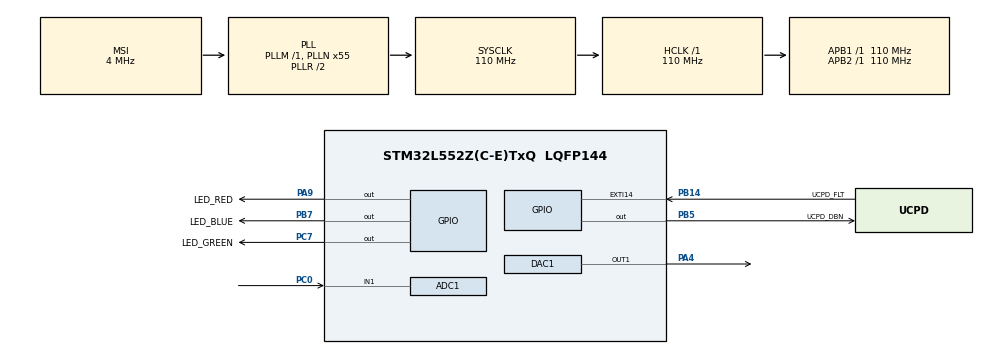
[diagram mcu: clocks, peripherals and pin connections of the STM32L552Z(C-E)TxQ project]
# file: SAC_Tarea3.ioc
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ADC1.Channel-0\#ChannelRegularConversion=ADC_CHANNEL_1
ADC1.ClockPrescaler=ADC_CLOCK_SYNC_PCLK_DIV4
ADC1.DMAContinuousRequests=ENABLE
ADC1.ExternalTrigConv=ADC_EXTERNALTRIG_T2_TRGO
ADC1.NbrOfConversionFlag=1
ADC1.OffsetNumber-0\#ChannelRegularConversion=ADC_OFFSET_NONE
ADC1.Rank-0\#ChannelRegularConversion=1
ADC1.SamplingTime-0\#ChannelRegularConversion=ADC_SAMPLETIME_2CYCLES_5
ADC1.master=1
Dma.ADC1.0.Channel_PRIV_NPRIV=DMA_CHANNEL_NPRIV_DISABLE
Dma.ADC1.0.Direction=DMA_PERIPH_TO_MEMORY
Dma.ADC1.0.EventEnable=DISABLE
Dma.ADC1.0.Instance=DMA1_Channel1
Dma.ADC1.0.MemDataAlignment=DMA_MDATAALIGN_HALFWORD
Dma.ADC1.0.MemInc=DMA_MINC_ENABLE
Dma.ADC1.0.Mode=DMA_NORMAL
Dma.ADC1.0.PeriphDataAlignment=DMA_PDATAALIGN_HALFWORD
Dma.ADC1.0.PeriphInc=DMA_PINC_DISABLE
Dma.ADC1.0.Polarity=HAL_DMAMUX_REQ_GEN_RISING
Dma.ADC1.0.Priority=DMA_PRIORITY_HIGH
Dma.ADC1.0.RequestNumber=1
Dma.ADC1.0.SignalID=NONE
Dma.ADC1.0.SyncEnable=DISABLE
Dma.ADC1.0.SyncPolarity=HAL_DMAMUX_SYNC_NO_EVENT
Dma.ADC1.0.SyncRequestNumber=1
Dma.ADC1.0.SyncSignalID=NONE
Dma.DAC1_CH1.1.Channel_PRIV_NPRIV=DMA_CHANNEL_NPRIV_DISABLE
Dma.DAC1_CH1.1.Direction=DMA_MEMORY_TO_PERIPH
Dma.DAC1_CH1.1.EventEnable=DISABLE
Dma.DAC1_CH1.1.Instance=DMA1_Channel2
Dma.DAC1_CH1.1.MemDataAlignment=DMA_MDATAALIGN_HALFWORD
Dma.DAC1_CH1.1.MemInc=DMA_MINC_ENABLE
Dma.DAC1_CH1.1.Mode=DMA_NORMAL
Dma.DAC1_CH1.1.PeriphDataAlignment=DMA_PDATAALIGN_HALFWORD
Dma.DAC1_CH1.1.PeriphInc=DMA_PINC_DISABLE
Dma.DAC1_CH1.1.Polarity=HAL_DMAMUX_REQ_GEN_RISING
Dma.DAC1_CH1.1.Priority=DMA_PRIORITY_MEDIUM
Dma.DAC1_CH1.1.RequestNumber=1
Dma.DAC1_CH1.1.SignalID=NONE
Dma.DAC1_CH1.1.SyncEnable=DISABLE
Dma.DAC1_CH1.1.SyncPolarity=HAL_DMAMUX_SYNC_NO_EVENT
Dma.DAC1_CH1.1.SyncRequestNumber=1
Dma.DAC1_CH1.1.SyncSignalID=NONE
Dma.Request0=ADC1
Dma.Request1=DAC1_CH1
Mcu.Family=STM32L5
Mcu.Name=STM32L552Z(C-E)TxQ
Mcu.Package=LQFP144
NVIC.ADC1_2_IRQn=true\:0\:0\:false\:false\:true\:true\:true\:true
NVIC.DAC_IRQn=true\:0\:0\:false\:false\:true\:true\:true\:true
NVIC.DMA1_Channel1_IRQn=true\:0\:0\:false\:false\:true\:false\:true\:true
NVIC.DMA1_Channel2_IRQn=true\:0\:0\:false\:false\:true\:false\:true\:true
NVIC.PriorityGroup=NVIC_PRIORITYGROUP_3
NVIC.TIM2_IRQn=true\:0\:0\:false\:false\:true\:true\:true\:true
PA4.Signal=COMP_DAC11_group
PA9.GPIO_Label=LED_RED
PA9.Signal=GPIO_Output
PB14.GPIO_Label=UCPD_FLT
PB14.Signal=GPXTI14
PB5.GPIO_Label=UCPD_DBN
PB5.Signal=GPIO_Output
PB7.GPIO_Label=LED_BLUE
PB7.Signal=GPIO_Output
PC0.Signal=ADCx_IN1
PC7.GPIO_Label=LED_GREEN
PC7.Signal=GPIO_Output
ProjectManager.HeapSize=0x200
ProjectManager.StackSize=0x400
ProjectManager.TargetToolchain=STM32CubeIDE
RCC.AHBFreq_Value=110000000
RCC.APB1Freq_Value=110000000
RCC.APB1TimFreq_Value=110000000
RCC.APB2Freq_Value=110000000
RCC.APB2TimFreq_Value=110000000
RCC.CortexFreq_Value=110000000
RCC.HCLKFreq_Value=110000000
RCC.HSE_VALUE=16000000
RCC.HSI48_VALUE=48000000
RCC.HSI_VALUE=16000000
RCC.LSE_VALUE=32768
RCC.MSI_VALUE=4000000
RCC.PLLN=55
RCC.SYSCLKFreq_VALUE=110000000
RCC.SYSCLKSource=RCC_SYSCLKSOURCE_PLLCLK
RCC.VCOOutputFreq_Value=220000000
SH.ADCx_IN1.0=ADC1_IN1,IN1-Single-Ended
SH.COMP_DAC11_group.0=DAC1_OUT1,DAC_OUT1
TIM2.Period=9
TIM2.Prescaler=109
TIM2.TIM_MasterOutputTrigger=TIM_TRGO_UPDATE
TIM6.Period=19
TIM6.Prescaler=109
TIM6.TIM_MasterOutputTrigger=TIM_TRGO_UPDATE
VP_ICACHE_VS_ICACHE.Mode=DirectMappedCache
VP_PWR_VS_DBSignals.Mode=DisableDeadBatterySignals
VP_PWR_VS_SECSignals.Mode=Security/Privilege
VP_TIM2_VS_ClockSourceINT.Mode=Internal
VP_TIM6_VS_ClockSourceINT.Mode=Enable_Timer
board=custom

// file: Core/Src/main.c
/* USER CODE BEGIN Header */
/**
  ******************************************************************************
  * @file           : main.c
  * @brief          : Main program body
  ******************************************************************************
  * @attention
  *
  * Copyright (c) 2024 STMicroelectronics.
  * All rights reserved.
  *
  * This software is licensed under terms that can be found in the LICENSE file
  * in the root directory of this software component.
  * If no LICENSE file comes with this software, it is provided AS-IS.
  *
  ******************************************************************************
  */
/* USER CODE END Header */
#include "main.h"

ADC_HandleTypeDef hadc1;
DMA_HandleTypeDef hdma_adc1;

DAC_HandleTypeDef hdac1;
DMA_HandleTypeDef hdma_dac1_ch1;

TIM_HandleTypeDef htim2;
TIM_HandleTypeDef htim6;

/* USER CODE BEGIN PV */
#define ADC_CONVERTED_DATA_BUFFER_SIZE 500
#define DIGITAL_SCALE_12BITS ((uint32_t) 0xFFF)
#define DAC_CONVERTED_DATA_BUFFER_SIZE 128
#define PI 3.14159265358979323846
/* USER CODE END PV */

void SystemClock_Config(void);
static void MX_GPIO_Init(void);
static void MX_DMA_Init(void);
static void MX_ADC1_Init(void);
static void MX_TIM2_Init(void);
static void MX_DAC1_Init(void);
static void MX_ICACHE_Init(void);
static void MX_TIM6_Init(void);

/* USER CODE BEGIN 0 */

uint16_t aADCxConvertedData[ADC_CONVERTED_DATA_BUFFER_SIZE];

void Alternar_DAC(void);

uint16_t Wave_LUT[DAC_CONVERTED_DATA_BUFFER_SIZE];

uint16_t LUT[50];
uint16_t LUTC[5];
uint16_t LUT10[5];

void Crear_LUTC(void);
void Crear_LUT(void);
/* USER CODE END 0 */

int main(void)
{

  /* MCU Configuration--------------------------------------------------------*/

  /* Reset of all peripherals, Initializes the Flash interface and the Systick. */
  HAL_Init();

  /* Configure the system clock */
  SystemClock_Config();

  /* Initialize all configured peripherals */
  MX_GPIO_Init();
  MX_DMA_Init();
  MX_ADC1_Init();
  MX_TIM2_Init();
  MX_DAC1_Init();
  MX_ICACHE_Init();
  MX_TIM6_Init();
  /* USER CODE BEGIN 2 */
//  	Alternar_DAC();
    //Crear_LUTC(); //Descomentar esta linea para usar la señal cuadrada
    Crear_LUT(); //Descomentar esta linea para usar la señal senoidal
    int j = 0;

    for(int i = 0; i < 50; i = i + 10) //Descomentar este for para crear la LUT10 para la señal senoidal de 10kHz
    {

  	  LUT10[j] = LUT[i]; //Toma 5 muestras de las 50 que teniamos en la LUT de 1 kHz
  	  j++;
    }

    if (HAL_TIM_Base_Start(&htim6) != HAL_OK) //Inicialización del timer6 para el DAC, configurado para que active el DAC en el flanco de bajada y a 50 kHz
       {
         /* Counter enable error */
         Error_Handler();
       }

    if (HAL_TIM_Base_Start(&htim2) != HAL_OK) //Inicializacion del timer2 para el ADC, configurado para que active el ADC en el flanco de bajada y a 50kHz
    {
      /* Counter enable error */
      Error_Handler();
    }

    if (HAL_DAC_Start_DMA(&hdac1, DAC_CHANNEL_1, (uint32_t *)LUT10, 5, DAC_ALIGN_12B_R) != HAL_OK) //Activo el DAC con DMA para el buffer correpondiente (ahora LUT10 para la señal senoidal de 10kHz, cambiar para probar otras tablas seleccionando el correcto tamaño de buffer, usar LUTC para la señal cuadrada o LUT para la senoidal de 1kHz y cambiar el tamaño de 5 a 50)
     	     {
     	       /* Start Error */
     	       Error_Handler();
     	     }

    if (HAL_ADC_Start_DMA(&hadc1, (uint32_t *)aADCxConvertedData, ADC_CONVERTED_DATA_BUFFER_SIZE)!= HAL_OK)
      {
        /* ADC conversion start error */
        Error_Handler();
      }

      /* Enable DAC Channel: channel corresponding to ADC channel ADC_CHANNEL_9 */
  /* USER CODE END 2 */

  /* Infinite loop */
  while (1)
  {

  }
}

void SystemClock_Config(void)
{
  RCC_OscInitTypeDef RCC_OscInitStruct = {0};
  RCC_ClkInitTypeDef RCC_ClkInitStruct = {0};

  /** Configure the main internal regulator output voltage
  */
  if (HAL_PWREx_ControlVoltageScaling(PWR_REGULATOR_VOLTAGE_SCALE0) != HAL_OK)
  {
    Error_Handler();
  }

  /** Initializes the RCC Oscillators according to the specified parameters
  * in the RCC_OscInitTypeDef structure.
  */
  RCC_OscInitStruct.OscillatorType = RCC_OSCILLATORTYPE_MSI;
  RCC_OscInitStruct.MSIState = RCC_MSI_ON;
  RCC_OscInitStruct.MSICalibrationValue = RCC_MSICALIBRATION_DEFAULT;
  RCC_OscInitStruct.MSIClockRange = RCC_MSIRANGE_6;
  RCC_OscInitStruct.PLL.PLLState = RCC_PLL_ON;
  RCC_OscInitStruct.PLL.PLLSource = RCC_PLLSOURCE_MSI;
  RCC_OscInitStruct.PLL.PLLM = 1;
  RCC_OscInitStruct.PLL.PLLN = 55;
  RCC_OscInitStruct.PLL.PLLP = RCC_PLLP_DIV7;
  RCC_OscInitStruct.PLL.PLLQ = RCC_PLLQ_DIV2;
  RCC_OscInitStruct.PLL.PLLR = RCC_PLLR_DIV2;
  if (HAL_RCC_OscConfig(&RCC_OscInitStruct) != HAL_OK)
  {
    Error_Handler();
  }

  /** Initializes the CPU, AHB and APB buses clocks
  */
  RCC_ClkInitStruct.ClockType = RCC_CLOCKTYPE_HCLK|RCC_CLOCKTYPE_SYSCLK
                              |RCC_CLOCKTYPE_PCLK1|RCC_CLOCKTYPE_PCLK2;
  RCC_ClkInitStruct.SYSCLKSource = RCC_SYSCLKSOURCE_PLLCLK;
  RCC_ClkInitStruct.AHBCLKDivider = RCC_SYSCLK_DIV1;
  RCC_ClkInitStruct.APB1CLKDivider = RCC_HCLK_DIV1;
  RCC_ClkInitStruct.APB2CLKDivider = RCC_HCLK_DIV1;

  if (HAL_RCC_ClockConfig(&RCC_ClkInitStruct, FLASH_LATENCY_5) != HAL_OK)
  {
    Error_Handler();
  }
}

static void MX_ADC1_Init(void)
{

  ADC_MultiModeTypeDef multimode = {0};
  ADC_ChannelConfTypeDef sConfig = {0};

  /** Common config
  */
  hadc1.Instance = ADC1;
  hadc1.Init.ClockPrescaler = ADC_CLOCK_SYNC_PCLK_DIV4;
  hadc1.Init.Resolution = ADC_RESOLUTION_12B;
  hadc1.Init.DataAlign = ADC_DATAALIGN_RIGHT;
  hadc1.Init.ScanConvMode = ADC_SCAN_DISABLE;
  hadc1.Init.EOCSelection = ADC_EOC_SINGLE_CONV;
  hadc1.Init.LowPowerAutoWait = DISABLE;
  hadc1.Init.ContinuousConvMode = DISABLE;
  hadc1.Init.NbrOfConversion = 1;
  hadc1.Init.DiscontinuousConvMode = DISABLE;
  hadc1.Init.ExternalTrigConv = ADC_EXTERNALTRIG_T2_TRGO;
  hadc1.Init.ExternalTrigConvEdge = ADC_EXTERNALTRIGCONVEDGE_RISING;
  hadc1.Init.DMAContinuousRequests = ENABLE;
  hadc1.Init.Overrun = ADC_OVR_DATA_PRESERVED;
  hadc1.Init.OversamplingMode = DISABLE;
  if (HAL_ADC_Init(&hadc1) != HAL_OK)
  {
    Error_Handler();
  }

  /** Configure the ADC multi-mode
  */
  multimode.Mode = ADC_MODE_INDEPENDENT;
  if (HAL_ADCEx_MultiModeConfigChannel(&hadc1, &multimode) != HAL_OK)
  {
    Error_Handler();
  }

  /** Configure Regular Channel
  */
  sConfig.Channel = ADC_CHANNEL_1;
  sConfig.Rank = ADC_REGULAR_RANK_1;
  sConfig.SamplingTime = ADC_SAMPLETIME_2CYCLES_5;
  sConfig.SingleDiff = ADC_SINGLE_ENDED;
  sConfig.OffsetNumber = ADC_OFFSET_NONE;
  sConfig.Offset = 0;
  if (HAL_ADC_ConfigChannel(&hadc1, &sConfig) != HAL_OK)
  {
    Error_Handler();
  }

}

static void MX_DAC1_Init(void)
{

  DAC_ChannelConfTypeDef sConfig = {0};

  /** DAC Initialization
  */
  hdac1.Instance = DAC1;
  if (HAL_DAC_Init(&hdac1) != HAL_OK)
  {
    Error_Handler();
  }

  /** DAC channel OUT1 config
  */
  sConfig.DAC_SampleAndHold = DAC_SAMPLEANDHOLD_DISABLE;
  sConfig.DAC_Trigger = DAC_TRIGGER_NONE;
  sConfig.DAC_HighFrequency = DAC_HIGH_FREQUENCY_INTERFACE_MODE_ABOVE_80MHZ;
  sConfig.DAC_OutputBuffer = DAC_OUTPUTBUFFER_ENABLE;
  sConfig.DAC_ConnectOnChipPeripheral = DAC_CHIPCONNECT_DISABLE;
  sConfig.DAC_UserTrimming = DAC_TRIMMING_FACTORY;
  if (HAL_DAC_ConfigChannel(&hdac1, &sConfig, DAC_CHANNEL_1) != HAL_OK)
  {
    Error_Handler();
  }

}

static void MX_ICACHE_Init(void)
{

  /** Enable instruction cache in 1-way (direct mapped cache)
  */
  if (HAL_ICACHE_ConfigAssociativityMode(ICACHE_1WAY) != HAL_OK)
  {
    Error_Handler();
  }
  if (HAL_ICACHE_Enable() != HAL_OK)
  {
    Error_Handler();
  }

}

static void MX_TIM2_Init(void)
{

  TIM_ClockConfigTypeDef sClockSourceConfig = {0};
  TIM_MasterConfigTypeDef sMasterConfig = {0};

  htim2.Instance = TIM2;
  htim2.Init.Prescaler = 109;
  htim2.Init.CounterMode = TIM_COUNTERMODE_UP;
  htim2.Init.Period = 9;
  htim2.Init.ClockDivision = TIM_CLOCKDIVISION_DIV1;
  htim2.Init.AutoReloadPreload = TIM_AUTORELOAD_PRELOAD_DISABLE;
  if (HAL_TIM_Base_Init(&htim2) != HAL_OK)
  {
    Error_Handler();
  }
  sClockSourceConfig.ClockSource = TIM_CLOCKSOURCE_INTERNAL;
  if (HAL_TIM_ConfigClockSource(&htim2, &sClockSourceConfig) != HAL_OK)
  {
    Error_Handler();
  }
  sMasterConfig.MasterOutputTrigger = TIM_TRGO_UPDATE;
  sMasterConfig.MasterSlaveMode = TIM_MASTERSLAVEMODE_DISABLE;
  if (HAL_TIMEx_MasterConfigSynchronization(&htim2, &sMasterConfig) != HAL_OK)
  {
    Error_Handler();
  }

}

static void MX_TIM6_Init(void)
{

  TIM_MasterConfigTypeDef sMasterConfig = {0};

  htim6.Instance = TIM6;
  htim6.Init.Prescaler = 109;
  htim6.Init.CounterMode = TIM_COUNTERMODE_UP;
  htim6.Init.Period = 19;
  htim6.Init.AutoReloadPreload = TIM_AUTORELOAD_PRELOAD_DISABLE;
  if (HAL_TIM_Base_Init(&htim6) != HAL_OK)
  {
    Error_Handler();
  }
  sMasterConfig.MasterOutputTrigger = TIM_TRGO_UPDATE;
  sMasterConfig.MasterSlaveMode = TIM_MASTERSLAVEMODE_DISABLE;
  if (HAL_TIMEx_MasterConfigSynchronization(&htim6, &sMasterConfig) != HAL_OK)
  {
    Error_Handler();
  }

}

static void MX_DMA_Init(void)
{

  /* DMA controller clock enable */
  __HAL_RCC_DMAMUX1_CLK_ENABLE();
  __HAL_RCC_DMA1_CLK_ENABLE();

  /* DMA interrupt init */
  /* DMA1_Channel1_IRQn interrupt configuration */
  HAL_NVIC_SetPriority(DMA1_Channel1_IRQn, 0, 0);
  HAL_NVIC_EnableIRQ(DMA1_Channel1_IRQn);
  /* DMA1_Channel2_IRQn interrupt configuration */
  HAL_NVIC_SetPriority(DMA1_Channel2_IRQn, 0, 0);
  HAL_NVIC_EnableIRQ(DMA1_Channel2_IRQn);

}

static void MX_GPIO_Init(void)
{
  GPIO_InitTypeDef GPIO_InitStruct = {0};

  /* GPIO Ports Clock Enable */
  __HAL_RCC_GPIOC_CLK_ENABLE();
  __HAL_RCC_GPIOA_CLK_ENABLE();
  __HAL_RCC_GPIOB_CLK_ENABLE();

  /*Configure GPIO pin Output Level */
  HAL_GPIO_WritePin(LED_GREEN_GPIO_Port, LED_GREEN_Pin, GPIO_PIN_RESET);

  /*Configure GPIO pin Output Level */
  HAL_GPIO_WritePin(LED_RED_GPIO_Port, LED_RED_Pin, GPIO_PIN_RESET);

  /*Configure GPIO pin Output Level */
  HAL_GPIO_WritePin(GPIOB, UCPD_DBN_Pin|LED_BLUE_Pin, GPIO_PIN_RESET);

  /*Configure GPIO pin : UCPD_FLT_Pin */
  GPIO_InitStruct.Pin = UCPD_FLT_Pin;
  GPIO_InitStruct.Mode = GPIO_MODE_IT_RISING;
  GPIO_InitStruct.Pull = GPIO_NOPULL;
  HAL_GPIO_Init(UCPD_FLT_GPIO_Port, &GPIO_InitStruct);

  /*Configure GPIO pin : LED_GREEN_Pin */
  GPIO_InitStruct.Pin = LED_GREEN_Pin;
  GPIO_InitStruct.Mode = GPIO_MODE_OUTPUT_PP;
  GPIO_InitStruct.Pull = GPIO_NOPULL;
  GPIO_InitStruct.Speed = GPIO_SPEED_FREQ_LOW;
  HAL_GPIO_Init(LED_GREEN_GPIO_Port, &GPIO_InitStruct);

  /*Configure GPIO pin : LED_RED_Pin */
  GPIO_InitStruct.Pin = LED_RED_Pin;
  GPIO_InitStruct.Mode = GPIO_MODE_OUTPUT_PP;
  GPIO_InitStruct.Pull = GPIO_NOPULL;
  GPIO_InitStruct.Speed = GPIO_SPEED_FREQ_LOW;
  HAL_GPIO_Init(LED_RED_GPIO_Port, &GPIO_InitStruct);

  /*Configure GPIO pins : UCPD_DBN_Pin LED_BLUE_Pin */
  GPIO_InitStruct.Pin = UCPD_DBN_Pin|LED_BLUE_Pin;
  GPIO_InitStruct.Mode = GPIO_MODE_OUTPUT_PP;
  GPIO_InitStruct.Pull = GPIO_NOPULL;
  GPIO_InitStruct.Speed = GPIO_SPEED_FREQ_LOW;
  HAL_GPIO_Init(GPIOB, &GPIO_InitStruct);

}

/* USER CODE BEGIN 4 */
void Alternar_DAC(void)
{
	for(int i = 0; i < 128; i++){
		Wave_LUT[i] = DIGITAL_SCALE_12BITS;
	}

}

void Crear_LUTC(void)
{
	for(int i = 0; i < 5; i++)
	{
		if(i < 2){
			LUTC[i] = 0;
		}
		else {
			LUTC[i] = 1830;
		}

	}
}

void Crear_LUT(void)
{
	for(int i = 0; i < 50; i++)
	{
		LUT[i] = 950 + (int)(950 * sin(2 * PI * i / 50));
	}
}
/* USER CODE END 4 */

void Error_Handler(void)
{
  __disable_irq();
  while (1)
  {
  }
}
